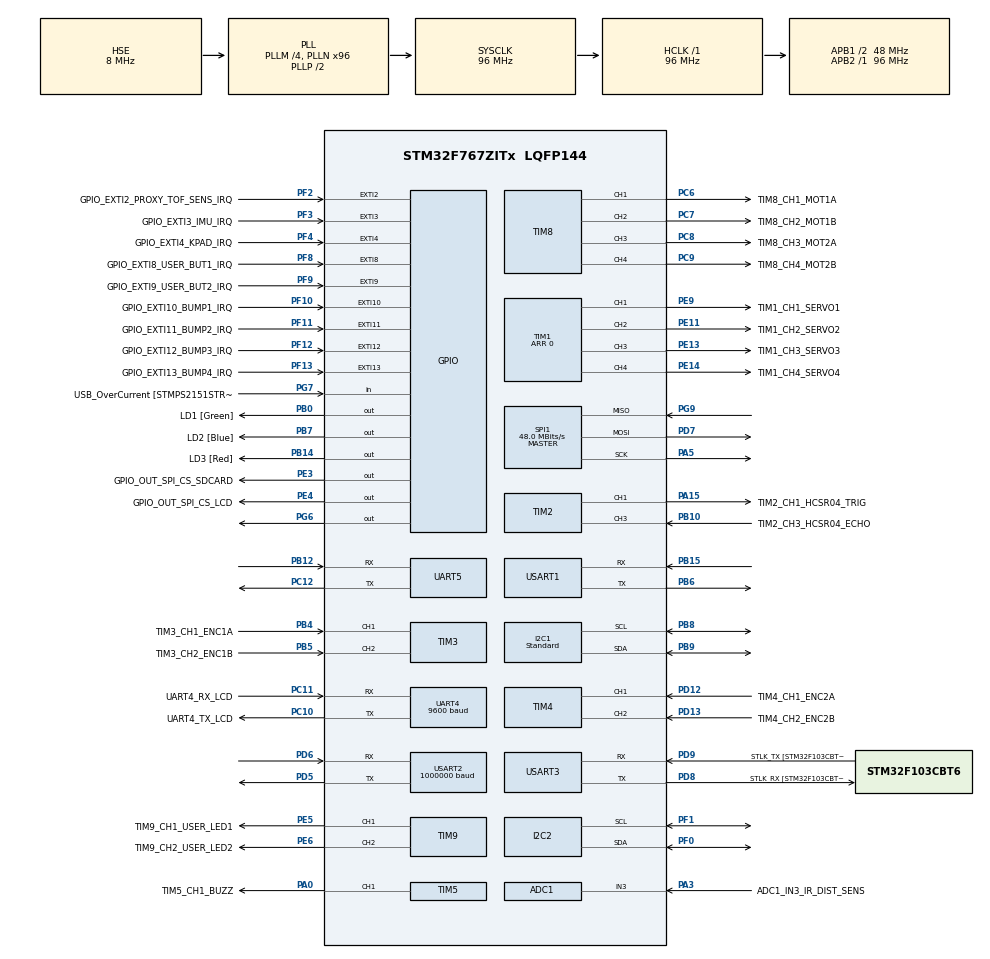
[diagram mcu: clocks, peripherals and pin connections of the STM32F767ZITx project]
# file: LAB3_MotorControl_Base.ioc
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ADC1.Channel-1\#ChannelRegularConversion=ADC_CHANNEL_3
ADC1.NbrOfConversionFlag=1
ADC1.Rank-1\#ChannelRegularConversion=1
ADC1.SamplingTime-1\#ChannelRegularConversion=ADC_SAMPLETIME_3CYCLES
ADC1.master=1
I2C1.I2C_Speed_Mode=I2C_Standard
I2C1.Timing=0x20303E5D
I2C2.Timing=0x20303E5D
Mcu.Family=STM32F7
Mcu.Name=STM32F767ZITx
Mcu.Package=LQFP144
Mcu.UserConstants=TIM3_ARR_VALUE,3839;TIM4_ARR_VALUE,3839;TIM8_PSC_VALUE,959;TIM8_ARR_VALUE,399;TIM6_PSC_VALUE,959;TIM6_ARR_VALUE,999;TIM1_PSC_VALUE,959;TIM1_ARR_VALUE,1999
NVIC.PriorityGroup=NVIC_PRIORITYGROUP_4
NVIC.TIM6_DAC_IRQn=true\:1\:0\:true\:false\:true\:true\:true\:true
PA0/WKUP.GPIO_Label=TIM5_CH1_BUZZ
PA0/WKUP.Signal=S_TIM5_CH1
PA1.GPIO_Label=RMII_REF_CLK [LAN8742A-CZ-TR_REFCLK0]
PA1.Signal=ETH_REF_CLK
PA10.GPIO_Label=USB_ID
PA10.Signal=USB_OTG_FS_ID
PA11.GPIO_Label=USB_DM
PA11.Signal=USB_OTG_FS_DM
PA12.GPIO_Label=USB_DP
PA12.Signal=USB_OTG_FS_DP
PA13.GPIO_Label=TMS
PA13.Mode=Serial_Wire
PA13.Signal=SYS_JTMS-SWDIO
PA14.GPIO_Label=TCK
PA14.Mode=Serial_Wire
PA14.Signal=SYS_JTCK-SWCLK
PA15.GPIO_Label=TIM2_CH1_HCSR04_TRIG
PA15.Signal=S_TIM2_CH1_ETR
PA2.GPIO_Label=RMII_MDIO [LAN8742A-CZ-TR_MDIO]
PA2.Signal=ETH_MDIO
PA3.GPIO_Label=ADC1_IN3_IR_DIST_SENS
PA3.Signal=ADCx_IN3
PA5.Mode=Full_Duplex_Master
PA5.Signal=SPI1_SCK
PA7.GPIO_Label=RMII_CRS_DV [LAN8742A-CZ-TR_CRS_DV]
PA7.Signal=ETH_CRS_DV
PA8.GPIO_Label=USB_SOF [TP1]
PA8.Signal=USB_OTG_FS_SOF
PA9.GPIO_Label=USB_VBUS
PA9.Signal=USB_OTG_FS_VBUS
PB0.GPIO_Label=LD1 [Green]
PB0.Signal=GPIO_Output
PB10.GPIO_Label=TIM2_CH3_HCSR04_ECHO
PB10.Signal=S_TIM2_CH3
PB12.Mode=Asynchronous
PB12.Signal=UART5_RX
PB13.GPIO_Label=RMII_TXD1 [LAN8742A-CZ-TR_TXD1]
PB13.Signal=ETH_TXD1
PB14.GPIO_Label=LD3 [Red]
PB14.Signal=GPIO_Output
PB15.Mode=Asynchronous
PB15.Signal=USART1_RX
PB3.GPIO_Label=SWO
PB3.Signal=SYS_JTDO-SWO
PB4.GPIO_Label=TIM3_CH1_ENC1A
PB4.Signal=S_TIM3_CH1
PB5.GPIO_Label=TIM3_CH2_ENC1B
PB5.Signal=S_TIM3_CH2
PB6.Mode=Asynchronous
PB6.Signal=USART1_TX
PB7.GPIO_Label=LD2 [Blue]
PB7.Signal=GPIO_Output
PB8.GPIO_Pu=GPIO_PULLUP
PB8.Mode=I2C
PB8.Signal=I2C1_SCL
PB9.GPIO_Pu=GPIO_PULLUP
PB9.Mode=I2C
PB9.Signal=I2C1_SDA
PC1.GPIO_Label=RMII_MDC [LAN8742A-CZ-TR_MDC]
PC1.Signal=ETH_MDC
PC10.GPIO_Label=UART4_TX_LCD
PC10.Mode=Asynchronous
PC10.Signal=UART4_TX
PC11.GPIO_Label=UART4_RX_LCD
PC11.Mode=Asynchronous
PC11.Signal=UART4_RX
PC12.Mode=Asynchronous
PC12.Signal=UART5_TX
PC14/OSC32_IN.Mode=LSE-External-Oscillator
PC14/OSC32_IN.Signal=RCC_OSC32_IN
PC15/OSC32_OUT.Mode=LSE-External-Oscillator
PC15/OSC32_OUT.Signal=RCC_OSC32_OUT
PC4.GPIO_Label=RMII_RXD0 [LAN8742A-CZ-TR_RXD0]
PC4.Signal=ETH_RXD0
PC5.GPIO_Label=RMII_RXD1 [LAN8742A-CZ-TR_RXD1]
PC5.Signal=ETH_RXD1
PC6.GPIO_Label=TIM8_CH1_MOT1A
PC6.Signal=S_TIM8_CH1
PC7.GPIO_Label=TIM8_CH2_MOT1B
PC7.Signal=S_TIM8_CH2
PC8.GPIO_Label=TIM8_CH3_MOT2A
PC8.Signal=S_TIM8_CH3
PC9.GPIO_Label=TIM8_CH4_MOT2B
PC9.Signal=S_TIM8_CH4
PD12.GPIO_Label=TIM4_CH1_ENC2A
PD12.Signal=S_TIM4_CH1
PD13.GPIO_Label=TIM4_CH2_ENC2B
PD13.Signal=S_TIM4_CH2
PD5.Mode=Asynchronous
PD5.Signal=USART2_TX
PD6.Mode=Asynchronous
PD6.Signal=USART2_RX
PD7.Mode=Full_Duplex_Master
PD7.Signal=SPI1_MOSI
PD8.GPIO_Label=STLK_RX [STM32F103CBT6_PA3]
PD8.Mode=Asynchronous
PD8.Signal=USART3_TX
PD9.GPIO_Label=STLK_TX [STM32F103CBT6_PA2]
PD9.Mode=Asynchronous
PD9.Signal=USART3_RX
PE11.GPIO_Label=TIM1_CH2_SERVO2
PE11.Signal=S_TIM1_CH2
PE13.GPIO_Label=TIM1_CH3_SERVO3
PE13.Signal=S_TIM1_CH3
PE14.GPIO_Label=TIM1_CH4_SERVO4
PE14.Signal=S_TIM1_CH4
PE3.GPIO_Label=GPIO_OUT_SPI_CS_SDCARD
PE3.Signal=GPIO_Output
PE4.GPIO_Label=GPIO_OUT_SPI_CS_LCD
PE4.Signal=GPIO_Output
PE5.GPIO_Label=TIM9_CH1_USER_LED1
PE5.Signal=S_TIM9_CH1
PE6.GPIO_Label=TIM9_CH2_USER_LED2
PE6.Signal=S_TIM9_CH2
PE9.GPIO_Label=TIM1_CH1_SERVO1
PE9.Signal=S_TIM1_CH1
PF0.GPIO_Pu=GPIO_PULLUP
PF0.Mode=I2C
PF0.Signal=I2C2_SDA
PF1.GPIO_Pu=GPIO_PULLUP
PF1.Mode=I2C
PF1.Signal=I2C2_SCL
PF10.GPIO_Label=GPIO_EXTI10_BUMP1_IRQ
PF10.Signal=GPXTI10
PF11.GPIO_Label=GPIO_EXTI11_BUMP2_IRQ
PF11.Signal=GPXTI11
PF12.GPIO_Label=GPIO_EXTI12_BUMP3_IRQ
PF12.Signal=GPXTI12
PF13.GPIO_Label=GPIO_EXTI13_BUMP4_IRQ
PF13.Signal=GPXTI13
PF2.GPIO_Label=GPIO_EXTI2_PROXY_TOF_SENS_IRQ
PF2.Signal=GPXTI2
PF3.GPIO_Label=GPIO_EXTI3_IMU_IRQ
PF3.Signal=GPXTI3
PF4.GPIO_Label=GPIO_EXTI4_KPAD_IRQ
PF4.Signal=GPXTI4
PF8.GPIO_Label=GPIO_EXTI8_USER_BUT1_IRQ
PF8.Signal=GPXTI8
PF9.GPIO_Label=GPIO_EXTI9_USER_BUT2_IRQ
PF9.Signal=GPXTI9
PG11.GPIO_Label=RMII_TX_EN [LAN8742A-CZ-TR_TXEN]
PG11.Signal=ETH_TX_EN
PG13.GPIO_Label=RMII_TXD0 [LAN8742A-CZ-TR_TXD0]
PG13.Signal=ETH_TXD0
PG6.Signal=GPIO_Output
PG7.GPIO_Label=USB_OverCurrent [STMPS2151STR_FAULT]
PG7.Signal=GPIO_Input
PG9.Mode=Full_Duplex_Master
PG9.Signal=SPI1_MISO
PH0/OSC_IN.GPIO_Label=MCO [STM32F103CBT6_PA8]
PH0/OSC_IN.Mode=HSE-External-Clock-Source
PH0/OSC_IN.Signal=RCC_OSC_IN
PH1/OSC_OUT.Mode=HSE-External-Clock-Source
PH1/OSC_OUT.Signal=RCC_OSC_OUT
ProjectManager.HeapSize=0x200
ProjectManager.StackSize=0x400
ProjectManager.TargetToolchain=STM32CubeIDE
RCC.48MHZClocksFreq_Value=24000000
RCC.AHBFreq_Value=96000000
RCC.APB1CLKDivider=RCC_HCLK_DIV2
RCC.APB1Freq_Value=48000000
RCC.APB1TimFreq_Value=96000000
RCC.APB2Freq_Value=96000000
RCC.APB2TimFreq_Value=96000000
RCC.CortexFreq_Value=96000000
RCC.HCLKFreq_Value=96000000
RCC.HSE_VALUE=8000000
RCC.HSI_VALUE=16000000
RCC.PLLM=4
RCC.PLLMUL=RCC_PLL_MUL9
RCC.PLLN=96
RCC.PLLQ=4
RCC.PLLSourceVirtual=RCC_PLLSOURCE_HSE
RCC.PRESCALERUSB=RCC_USBCLKSOURCE_PLL_DIV1_5
RCC.SYSCLKFreq_VALUE=96000000
RCC.SYSCLKSource=RCC_SYSCLKSOURCE_PLLCLK
RCC.SYSCLKSourceVirtual=RCC_SYSCLKSOURCE_PLLCLK
RCC.USBFreq_Value=48000000
RCC.VCOOutputFreq_Value=192000000
SH.ADCx_IN3.0=ADC1_IN3,IN3
SH.S_TIM1_CH1.0=TIM1_CH1,Forced Output1 CH1
SH.S_TIM1_CH2.0=TIM1_CH2,Forced Output2 CH2
SH.S_TIM1_CH3.0=TIM1_CH3,Forced Output3 CH3
SH.S_TIM1_CH4.0=TIM1_CH4,Forced Output4 CH4
SH.S_TIM2_CH1_ETR.0=TIM2_CH1,PWM Generation1 CH1
SH.S_TIM2_CH3.0=TIM2_CH3,Input_Capture3_from_TI3
SH.S_TIM3_CH1.0=TIM3_CH1,Encoder_Interface
SH.S_TIM3_CH2.0=TIM3_CH2,Encoder_Interface
SH.S_TIM4_CH1.0=TIM4_CH1,Encoder_Interface
SH.S_TIM4_CH2.0=TIM4_CH2,Encoder_Interface
SH.S_TIM5_CH1.0=TIM5_CH1,PWM Generation1 CH1
SH.S_TIM8_CH1.0=TIM8_CH1,PWM Generation1 CH1
SH.S_TIM8_CH2.0=TIM8_CH2,PWM Generation2 CH2
SH.S_TIM8_CH3.0=TIM8_CH3,PWM Generation3 CH3
SH.S_TIM8_CH4.0=TIM8_CH4,PWM Generation4 CH4
SH.S_TIM9_CH1.0=TIM9_CH1,PWM Generation1 CH1
SH.S_TIM9_CH2.0=TIM9_CH2,PWM Generation2 CH2
SPI1.CalculateBaudRate=48.0 MBits/s
SPI1.Direction=SPI_DIRECTION_2LINES
SPI1.Mode=SPI_MODE_MASTER
SPI1.VirtualType=VM_MASTER
TIM1.Channel-Forced\ Output1\ CH1=TIM_CHANNEL_1
TIM1.Channel-Forced\ Output2\ CH2=TIM_CHANNEL_2
TIM1.Channel-Forced\ Output3\ CH3=TIM_CHANNEL_3
TIM1.Channel-Forced\ Output4\ CH4=TIM_CHANNEL_4
TIM1.OCPolarity_1=TIM_OCPOLARITY_LOW
TIM1.OCPolarity_2=TIM_OCPOLARITY_LOW
TIM1.OCPolarity_3=TIM_OCPOLARITY_LOW
TIM1.OCPolarity_4=TIM_OCPOLARITY_LOW
TIM1.Period=0
TIM2.Channel-Input_Capture3_from_TI3=TIM_CHANNEL_3
TIM2.Channel-PWM\ Generation1\ CH1=TIM_CHANNEL_1
TIM3.EncoderMode=TIM_ENCODERMODE_TI12
TIM3.IC1Filter=15
TIM3.IC2Filter=15
TIM3.Period=TIM3_ARR_VALUE
TIM4.EncoderMode=TIM_ENCODERMODE_TI12
TIM4.IC1Filter=15
TIM4.IC2Filter=15
TIM4.Period=TIM4_ARR_VALUE
TIM5.Channel-PWM\ Generation1\ CH1=TIM_CHANNEL_1
TIM6.Period=TIM6_ARR_VALUE
TIM6.Prescaler=TIM6_PSC_VALUE
TIM8.Channel-PWM\ Generation1\ CH1=TIM_CHANNEL_1
TIM8.Channel-PWM\ Generation2\ CH2=TIM_CHANNEL_2
TIM8.Channel-PWM\ Generation3\ CH3=TIM_CHANNEL_3
TIM8.Channel-PWM\ Generation4\ CH4=TIM_CHANNEL_4
TIM8.Period=TIM8_ARR_VALUE
TIM8.Prescaler=TIM8_PSC_VALUE
TIM9.Channel-PWM\ Generation1\ CH1=TIM_CHANNEL_1
TIM9.Channel-PWM\ Generation2\ CH2=TIM_CHANNEL_2
UART4.BaudRate=9600
USART1.VirtualMode-Asynchronous=VM_ASYNC
USART2.BaudRate=1000000
USART2.VirtualMode-Asynchronous=VM_ASYNC
USART3.VirtualMode-Asynchronous=VM_ASYNC
VP_TIM1_VS_ClockSourceINT.Mode=Internal
VP_TIM2_VS_ClockSourceINT.Mode=Internal
VP_TIM5_VS_ClockSourceINT.Mode=Internal
VP_TIM6_VS_ClockSourceINT.Mode=Enable_Timer
VP_TIM8_VS_ClockSourceINT.Mode=Internal
board=NUCLEO-F767ZI

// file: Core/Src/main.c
/* USER CODE BEGIN Header */
/**
  ******************************************************************************
  * @file           : main.c
  * @brief          : Main program body
  ******************************************************************************
  * @attention
  *
  * <h2><center>&copy; Copyright (c) 2021 STMicroelectronics.
  * All rights reserved.</center></h2>
  *
  * This software component is licensed by ST under BSD 3-Clause license,
  * the "License"; You may not use this file except in compliance with the
  * License. You may obtain a copy of the License at:
  *                        opensource.org/licenses/BSD-3-Clause
  *
  ******************************************************************************
  */
/* USER CODE END Header */
#include "main.h"

/* USER CODE BEGIN Includes */
#include <math.h>
#include <stdbool.h>
#include "ertc-datalogger.h"
#include "SX1509_Registers.h"
#include "stdio.h"
/* USER CODE END Includes */

/* USER CODE BEGIN PTD */
#define HAL_TIMEOUT 100

#define I2C_TIMEOUT 200

#define SX1509_I2C_ADDR1 0x3E //	SX1509 Proxy Sensors I2C address
/* USER CODE END PTD */

/* USER CODE BEGIN PD */
//#define	HAL_TIMEOUT		1
#define TS	0.01

#define VBATT	8.0
#define V2DUTY	((float)(TIM8_ARR_VALUE+1)/VBATT)
#define DUTY2V	((float)VBATT/(TIM8_ARR_VALUE+1))

#define RPM2RADS	2*M_PI/60
#define ABS(x) (x > 0 ? x : -x)
/* USER CODE END PD */

ADC_HandleTypeDef hadc1;

I2C_HandleTypeDef hi2c1;
I2C_HandleTypeDef hi2c2;

SPI_HandleTypeDef hspi1;

TIM_HandleTypeDef htim1;
TIM_HandleTypeDef htim2;
TIM_HandleTypeDef htim3;
TIM_HandleTypeDef htim4;
TIM_HandleTypeDef htim5;
TIM_HandleTypeDef htim6;
TIM_HandleTypeDef htim8;
TIM_HandleTypeDef htim9;

UART_HandleTypeDef huart4;
UART_HandleTypeDef huart5;
UART_HandleTypeDef huart1;
UART_HandleTypeDef huart2;
UART_HandleTypeDef huart3;

/* USER CODE BEGIN PV */
const char keypadLayout[4][4] = {
    {'*', '0', '#', 'D'},
    {'7', '8', '9', 'C'},
    {'4', '5', '6', 'B'},
    {'1', '2', '3', 'A'}};
struct ertc_dlog logger;
/* USER CODE END PV */

void SystemClock_Config(void);
static void MX_GPIO_Init(void);
static void MX_USART3_UART_Init(void);
static void MX_ADC1_Init(void);
static void MX_I2C1_Init(void);
static void MX_I2C2_Init(void);
static void MX_SPI1_Init(void);
static void MX_TIM1_Init(void);
static void MX_TIM2_Init(void);
static void MX_TIM3_Init(void);
static void MX_TIM4_Init(void);
static void MX_TIM5_Init(void);
static void MX_TIM8_Init(void);
static void MX_UART4_Init(void);
static void MX_UART5_Init(void);
static void MX_USART1_UART_Init(void);
static void MX_USART2_UART_Init(void);
static void MX_TIM9_Init(void);
static void MX_TIM6_Init(void);
/* USER CODE BEGIN PFP */

float PI_controller (float error);

/* USER CODE END PFP */

/* USER CODE BEGIN 0 */
float controller_return_R ,motor_V_R  ,tracking_error_R;
float controller_return_L ,motor_V_L  ,tracking_error_L;
float  reference_rpm_L;
float  reference_rpm_R;

struct datalog {
	float w1, w2;
	float u1, u2;
	float x1, x2;
} data_log;

float Kp = 0.34;
float KI = 0.2;

float PI_controller (float error){
	float P = Kp * error;
	static float I = 0;
	I = I + error * KI * TS;
	if(I>10){ // anti windup
		I=10;
	}
	return P + I;
}

// converts integer to a binary array
void findBinary(int decimal, int * binary){
	int i =0;
   while(decimal > 0){
	   int rem = decimal % 2;
	   binary[i] = rem;
	   i++;
	   decimal = decimal / 2;
   }
}

// calculates the tracking error for the line sensor
int calc_error_line (int binary[]){
	float distance_from_middle[8]={0};
	float sum_dist = 0;
	int sum_binary = 0;
	for(int n=0;n<8;n++){
		sum_binary += binary[n];
		distance_from_middle[n]=((7.0/2.0)-n)*4;
		sum_dist += binary[n]*distance_from_middle[n];
	}
	float line_error = sum_dist / sum_binary;
	return line_error;
}

float calc_yaw_error(float line_error){
	float phi_err = line_error/85;
	float yaw_err = phi_err * (165/2);
	return yaw_err;
}

uint8_t lineData;
uint8_t data;
HAL_StatusTypeDef status;

void HAL_TIM_PeriodElapsedCallback(TIM_HandleTypeDef *htim)
{
	/* Speed ctrl routine */
	if(htim->Instance == TIM6) // check if interrupt came from timer
	{
		// get the line sensor data
		status = HAL_I2C_Mem_Read(&hi2c1, SX1509_I2C_ADDR1 << 1, REG_DATA_B, 1, &lineData, 1, I2C_TIMEOUT);

    int binary[8] = {0};
    findBinary(lineData, binary); // converts int to binary array
    float line_error = calc_error_line(binary); // computes the line error calculation
    float yaw_err = calc_yaw_error(line_error); // computes the yaw  error calculation

		//reference_rpm_L = 170 - yaw_err*22; // pushing the limit
    //reference_rpm_R = 170 + yaw_err*22;

		reference_rpm_L = 100 - yaw_err*ABS(yaw_err); // workes great
		reference_rpm_R = 100 + yaw_err*ABS(yaw_err);

		uint32_t TIM3_CurrentCount , TIM4_CurrentCount;
		int32_t TIM3_DiffCount , TIM4_DiffCount;
		static uint32_t TIM3_PreviousCount = 0, TIM4_PreviousCount = 0;

    // read the counter value from the encoder
		TIM3_CurrentCount = __HAL_TIM_GET_COUNTER(&htim3);
		TIM4_CurrentCount = __HAL_TIM_GET_COUNTER(&htim4);

    //compute the difference between the current value and the old value
		/*  evaluate increment of TIM3 counter from previous count  */
		if (__HAL_TIM_IS_TIM_COUNTING_DOWN(&htim3)) // right motor
		{
			/* check for counter underflow */
			if (TIM3_CurrentCount <= TIM3_PreviousCount)
				TIM3_DiffCount = TIM3_CurrentCount - TIM3_PreviousCount;
			else
				TIM3_DiffCount = -((TIM3_ARR_VALUE+1) - TIM3_CurrentCount) - TIM3_PreviousCount;
		}
		else
		{
		  /* check for counter overflow */
			if (TIM3_CurrentCount >= TIM3_PreviousCount)
				TIM3_DiffCount = TIM3_CurrentCount - TIM3_PreviousCount;
			else
				TIM3_DiffCount = ((TIM3_ARR_VALUE+1) - TIM3_PreviousCount) + TIM3_CurrentCount;
		}

		TIM3_PreviousCount = TIM3_CurrentCount;

		/*  evaluate increment of TIM4 counter from previous count  */
		if (__HAL_TIM_IS_TIM_COUNTING_DOWN(&htim4)) // left motor
		{
			/* check for counter underflow */
			if (TIM4_CurrentCount <= TIM4_PreviousCount)
				TIM4_DiffCount = TIM4_CurrentCount - TIM4_PreviousCount;
			else
				TIM4_DiffCount = -((TIM4_ARR_VALUE+1) - TIM4_CurrentCount) - TIM4_PreviousCount;
		}
		else
		{
		/* check for counter overflow */
			if (TIM4_CurrentCount >= TIM4_PreviousCount)
				TIM4_DiffCount = TIM4_CurrentCount - TIM4_PreviousCount;
			else
				TIM4_DiffCount = ((TIM4_ARR_VALUE+1) - TIM4_PreviousCount) + TIM4_CurrentCount;
		}

		TIM4_PreviousCount = TIM4_CurrentCount;

    // compute the motor speed in [rpm]
		float current_rpm_R = ((float)TIM3_DiffCount/(2.0*1920.0))*(60.0/TS );
	  tracking_error_R = reference_rpm_R - current_rpm_R;

		float current_rpm_L = ((float)TIM4_DiffCount/(2.0*1920.0))*(60.0/TS );
	  tracking_error_L = reference_rpm_L - current_rpm_L;

    // compute the tracking error via PI controller
    controller_return_R = PI_controller(tracking_error_R);
    controller_return_L = PI_controller(tracking_error_L);

    motor_V_R = controller_return_R;
    motor_V_L = controller_return_L;

    // calculate duty cycle for motor
    int32_t duty_R = V2DUTY*motor_V_R;
    int32_t duty_L = V2DUTY*motor_V_L;

    if (duty_R > 399)
      duty_R = 399;

		/* calculate duty properly */
		if (duty_R >= 0) { // rotate forward
			// alternate between forward and coast
			//__HAL_TIM_SET_COMPARE(&htim8, TIM_CHANNEL_1, (uint32_t)duty_R);
			//__HAL_TIM_SET_COMPARE(&htim8, TIM_CHANNEL_2, 0);

			// alternate between forward and brake, TIM8_ARR_VALUE is a define
			__HAL_TIM_SET_COMPARE(&htim8, TIM_CHANNEL_1, (uint32_t)TIM8_ARR_VALUE);
			__HAL_TIM_SET_COMPARE(&htim8, TIM_CHANNEL_2, (uint32_t)(TIM8_ARR_VALUE - duty_R));
		} else { // rotate backward
			__HAL_TIM_SET_COMPARE(&htim8, TIM_CHANNEL_1, 0);
			__HAL_TIM_SET_COMPARE(&htim8, TIM_CHANNEL_2, (uint32_t)-duty_R);
		}

    if (duty_L > 399)
          duty_L = 399;

		/* calculate duty properly */
		if (duty_L >= 0) { // rotate forward
			// alternate between forward and coast
			//__HAL_TIM_SET_COMPARE(&htim8, TIM_CHANNEL_3, (uint32_t)duty_L);
	    //__HAL_TIM_SET_COMPARE(&htim8, TIM_CHANNEL_4, 0);

			// alternate between forward and brake, TIM8_ARR_VALUE is a define
			__HAL_TIM_SET_COMPARE(&htim8, TIM_CHANNEL_3, (uint32_t)TIM8_ARR_VALUE);
			__HAL_TIM_SET_COMPARE(&htim8, TIM_CHANNEL_4, (uint32_t)(TIM8_ARR_VALUE - duty_L));
		} else { // rotate backward
			__HAL_TIM_SET_COMPARE(&htim8, TIM_CHANNEL_3, 0);
			__HAL_TIM_SET_COMPARE(&htim8, TIM_CHANNEL_4, (uint32_t)-duty_L);
		}

    /*	Prepare data packet */
		data_log.w1 = reference_rpm_L;
		data_log.w2 = current_rpm_L;

		data_log.u1 = line_error;
		data_log.u2 = yaw_err;

		data_log.x1 = reference_rpm_R;
		data_log.x2 = current_rpm_R;

    // send data to datalogger
		ertc_dlog_send(&logger, &data_log, sizeof(data_log));
	}
}

//#define N 8  //number of the sensors
/* USER CODE END 0 */

int main(void)
{
  /* USER CODE BEGIN 1 */

	//float w[N];
  /* USER CODE END 1 */

  /* MCU Configuration--------------------------------------------------------*/

  /* Reset of all peripherals, Initializes the Flash interface and the Systick. */
  HAL_Init();

  /* Configure the system clock */
  SystemClock_Config();

  /* Initialize all configured peripherals */
  MX_GPIO_Init();
  MX_USART3_UART_Init();
  MX_ADC1_Init();
  MX_I2C1_Init();
  MX_I2C2_Init();
  MX_SPI1_Init();
  MX_TIM1_Init();
  MX_TIM2_Init();
  MX_TIM3_Init();
  MX_TIM4_Init();
  MX_TIM5_Init();
  MX_TIM8_Init();
  MX_UART4_Init();
  MX_UART5_Init();
  MX_USART1_UART_Init();
  MX_USART2_UART_Init();
  MX_TIM9_Init();
  MX_TIM6_Init();
  /* USER CODE BEGIN 2 */

//  logger.uart_handle = huart3; // for serial
  logger.uart_handle = huart2; // for wifi

  /* Reset LCD */
  HAL_GPIO_WritePin(GPIO_OUT_SPI_CS_LCD_GPIO_Port, GPIO_OUT_SPI_CS_LCD_Pin, GPIO_PIN_SET);

  HAL_Delay(1000);

  data = 0x12;
    status = HAL_I2C_Mem_Write(&hi2c1, SX1509_I2C_ADDR1 << 1, REG_RESET, 1, &data, 1, I2C_TIMEOUT);
    if (status != HAL_OK)
      printf("I2C communication error (%X).\n", status);

    data = 0x34;
    status = HAL_I2C_Mem_Write(&hi2c1, SX1509_I2C_ADDR1 << 1, REG_RESET, 1, &data, 1, I2C_TIMEOUT);
    if (status != HAL_OK)
      printf("I2C communication error (%X).\n", status);

    HAL_Delay(100);

    /* Set RegDirA to 0xFF (all IO of Bank A configured as inputs) */
    data = 0xFF; // 0 = out; 1 = in
    status = HAL_I2C_Mem_Write(&hi2c1, SX1509_I2C_ADDR1 << 1, REG_DIR_A, 1, &data, 1, I2C_TIMEOUT);
    if (status != HAL_OK)
      printf("I2C communication error (%X).\n", status);

    /* Set RegDirB to 0xFF (all IO of Bank B configured as inputs) */
    data = 0xFF; // 0 = out; 1 = in
    status = HAL_I2C_Mem_Write(&hi2c1, SX1509_I2C_ADDR1 << 1, REG_DIR_B, 1, &data, 1, I2C_TIMEOUT);
    if (status != HAL_OK)
      printf("I2C communication error (%X).\n", status);

    /* Set RegInterruptMaskA to 0x00 (all IO of Bank A will trigger an interrupt) */
    data = 0x00;
    status = HAL_I2C_Mem_Write(&hi2c1, SX1509_I2C_ADDR1 << 1, REG_INTERRUPT_MASK_A, 1, &data, 1, I2C_TIMEOUT);
    if (status != HAL_OK)
      printf("I2C communication error (%X).\n", status);

    /* Set RegSenseHighA to 0xAA (IO[7:4] of Bank A will trigger an interrupt on falling edge) */
    data = 0xAA;
    status = HAL_I2C_Mem_Write(&hi2c1, SX1509_I2C_ADDR1 << 1, REG_SENSE_HIGH_A, 1, &data, 1, I2C_TIMEOUT);
    if (status != HAL_OK)
      printf("I2C communication error (%X).\n", status);

    /* Set RegSenseLowA to 0xAA (IO[3:0] of Bank A will trigger an interrupt on falling edge) */
    data = 0xAA;
    status = HAL_I2C_Mem_Write(&hi2c1, SX1509_I2C_ADDR1 << 1, REG_SENSE_LOW_A, 1, &data, 1, I2C_TIMEOUT);
    if (status != HAL_OK)
      printf("I2C communication error (%X).\n", status);

  /* Start encoders timers */
  HAL_TIM_Encoder_Start(&htim3, TIM_CHANNEL_ALL);
  HAL_TIM_Encoder_Start(&htim4, TIM_CHANNEL_ALL);

  /* Start servomotors PWM (avoid floating inputs to servomotors) */
  HAL_TIM_PWM_Start(&htim1, TIM_CHANNEL_1);
  HAL_TIM_PWM_Start(&htim1, TIM_CHANNEL_2);
  HAL_TIM_PWM_Start(&htim1, TIM_CHANNEL_3);
  HAL_TIM_PWM_Start(&htim1, TIM_CHANNEL_4);

  /* Start motor PWM */
  __HAL_TIM_SET_COMPARE(&htim8, TIM_CHANNEL_1, 0);
  __HAL_TIM_SET_COMPARE(&htim8, TIM_CHANNEL_2, 0);
  __HAL_TIM_SET_COMPARE(&htim8, TIM_CHANNEL_3, 0);
  __HAL_TIM_SET_COMPARE(&htim8, TIM_CHANNEL_4, 0);

  HAL_TIM_PWM_Start(&htim8, TIM_CHANNEL_1);
  HAL_TIM_PWM_Start(&htim8, TIM_CHANNEL_2);
  HAL_TIM_PWM_Start(&htim8, TIM_CHANNEL_3);
  HAL_TIM_PWM_Start(&htim8, TIM_CHANNEL_4);

  /* Start speed ctrl ISR */
  HAL_TIM_Base_Start_IT(&htim6);

  /* USER CODE END 2 */

  /* Infinite loop */
  while (1)
  {

    /* USER CODE BEGIN 3 */
	  ertc_dlog_update(&logger);
  }
  /* USER CODE END 3 */
}

void SystemClock_Config(void)
{
  RCC_OscInitTypeDef RCC_OscInitStruct = {0};
  RCC_ClkInitTypeDef RCC_ClkInitStruct = {0};

  /** Configure LSE Drive Capability
  */
  HAL_PWR_EnableBkUpAccess();

  /** Configure the main internal regulator output voltage
  */
  __HAL_RCC_PWR_CLK_ENABLE();
  __HAL_PWR_VOLTAGESCALING_CONFIG(PWR_REGULATOR_VOLTAGE_SCALE3);

  /** Initializes the RCC Oscillators according to the specified parameters
  * in the RCC_OscInitTypeDef structure.
  */
  RCC_OscInitStruct.OscillatorType = RCC_OSCILLATORTYPE_HSE;
  RCC_OscInitStruct.HSEState = RCC_HSE_BYPASS;
  RCC_OscInitStruct.PLL.PLLState = RCC_PLL_ON;
  RCC_OscInitStruct.PLL.PLLSource = RCC_PLLSOURCE_HSE;
  RCC_OscInitStruct.PLL.PLLM = 4;
  RCC_OscInitStruct.PLL.PLLN = 96;
  RCC_OscInitStruct.PLL.PLLP = RCC_PLLP_DIV2;
  RCC_OscInitStruct.PLL.PLLQ = 4;
  RCC_OscInitStruct.PLL.PLLR = 2;
  if (HAL_RCC_OscConfig(&RCC_OscInitStruct) != HAL_OK)
  {
    Error_Handler();
  }

  /** Activate the Over-Drive mode
  */
  if (HAL_PWREx_EnableOverDrive() != HAL_OK)
  {
    Error_Handler();
  }

  /** Initializes the CPU, AHB and APB buses clocks
  */
  RCC_ClkInitStruct.ClockType = RCC_CLOCKTYPE_HCLK|RCC_CLOCKTYPE_SYSCLK
                              |RCC_CLOCKTYPE_PCLK1|RCC_CLOCKTYPE_PCLK2;
  RCC_ClkInitStruct.SYSCLKSource = RCC_SYSCLKSOURCE_PLLCLK;
  RCC_ClkInitStruct.AHBCLKDivider = RCC_SYSCLK_DIV1;
  RCC_ClkInitStruct.APB1CLKDivider = RCC_HCLK_DIV2;
  RCC_ClkInitStruct.APB2CLKDivider = RCC_HCLK_DIV1;

  if (HAL_RCC_ClockConfig(&RCC_ClkInitStruct, FLASH_LATENCY_3) != HAL_OK)
  {
    Error_Handler();
  }
}

static void MX_ADC1_Init(void)
{

  ADC_ChannelConfTypeDef sConfig = {0};

  /** Configure the global features of the ADC (Clock, Resolution, Data Alignment and number of conversion)
  */
  hadc1.Instance = ADC1;
  hadc1.Init.ClockPrescaler = ADC_CLOCK_SYNC_PCLK_DIV4;
  hadc1.Init.Resolution = ADC_RESOLUTION_12B;
  hadc1.Init.ScanConvMode = ADC_SCAN_DISABLE;
  hadc1.Init.ContinuousConvMode = DISABLE;
  hadc1.Init.DiscontinuousConvMode = DISABLE;
  hadc1.Init.ExternalTrigConvEdge = ADC_EXTERNALTRIGCONVEDGE_NONE;
  hadc1.Init.ExternalTrigConv = ADC_SOFTWARE_START;
  hadc1.Init.DataAlign = ADC_DATAALIGN_RIGHT;
  hadc1.Init.NbrOfConversion = 1;
  hadc1.Init.DMAContinuousRequests = DISABLE;
  hadc1.Init.EOCSelection = ADC_EOC_SINGLE_CONV;
  if (HAL_ADC_Init(&hadc1) != HAL_OK)
  {
    Error_Handler();
  }

  /** Configure for the selected ADC regular channel its corresponding rank in the sequencer and its sample time.
  */
  sConfig.Channel = ADC_CHANNEL_3;
  sConfig.Rank = ADC_REGULAR_RANK_1;
  sConfig.SamplingTime = ADC_SAMPLETIME_3CYCLES;
  if (HAL_ADC_ConfigChannel(&hadc1, &sConfig) != HAL_OK)
  {
    Error_Handler();
  }

}

static void MX_I2C1_Init(void)
{

  hi2c1.Instance = I2C1;
  hi2c1.Init.Timing = 0x20303E5D;
  hi2c1.Init.OwnAddress1 = 0;
  hi2c1.Init.AddressingMode = I2C_ADDRESSINGMODE_7BIT;
  hi2c1.Init.DualAddressMode = I2C_DUALADDRESS_DISABLE;
  hi2c1.Init.OwnAddress2 = 0;
  hi2c1.Init.OwnAddress2Masks = I2C_OA2_NOMASK;
  hi2c1.Init.GeneralCallMode = I2C_GENERALCALL_DISABLE;
  hi2c1.Init.NoStretchMode = I2C_NOSTRETCH_DISABLE;
  if (HAL_I2C_Init(&hi2c1) != HAL_OK)
  {
    Error_Handler();
  }

  /** Configure Analogue filter
  */
  if (HAL_I2CEx_ConfigAnalogFilter(&hi2c1, I2C_ANALOGFILTER_ENABLE) != HAL_OK)
  {
    Error_Handler();
  }

  /** Configure Digital filter
  */
  if (HAL_I2CEx_ConfigDigitalFilter(&hi2c1, 0) != HAL_OK)
  {
    Error_Handler();
  }

}

static void MX_I2C2_Init(void)
{

  hi2c2.Instance = I2C2;
  hi2c2.Init.Timing = 0x20303E5D;
  hi2c2.Init.OwnAddress1 = 0;
  hi2c2.Init.AddressingMode = I2C_ADDRESSINGMODE_7BIT;
  hi2c2.Init.DualAddressMode = I2C_DUALADDRESS_DISABLE;
  hi2c2.Init.OwnAddress2 = 0;
  hi2c2.Init.OwnAddress2Masks = I2C_OA2_NOMASK;
  hi2c2.Init.GeneralCallMode = I2C_GENERALCALL_DISABLE;
  hi2c2.Init.NoStretchMode = I2C_NOSTRETCH_DISABLE;
  if (HAL_I2C_Init(&hi2c2) != HAL_OK)
  {
    Error_Handler();
  }

  /** Configure Analogue filter
  */
  if (HAL_I2CEx_ConfigAnalogFilter(&hi2c2, I2C_ANALOGFILTER_ENABLE) != HAL_OK)
  {
    Error_Handler();
  }

  /** Configure Digital filter
  */
  if (HAL_I2CEx_ConfigDigitalFilter(&hi2c2, 0) != HAL_OK)
  {
    Error_Handler();
  }

}

static void MX_SPI1_Init(void)
{

  /* SPI1 parameter configuration*/
  hspi1.Instance = SPI1;
  hspi1.Init.Mode = SPI_MODE_MASTER;
  hspi1.Init.Direction = SPI_DIRECTION_2LINES;
  hspi1.Init.DataSize = SPI_DATASIZE_4BIT;
  hspi1.Init.CLKPolarity = SPI_POLARITY_LOW;
  hspi1.Init.CLKPhase = SPI_PHASE_1EDGE;
  hspi1.Init.NSS = SPI_NSS_SOFT;
  hspi1.Init.BaudRatePrescaler = SPI_BAUDRATEPRESCALER_2;
  hspi1.Init.FirstBit = SPI_FIRSTBIT_MSB;
  hspi1.Init.TIMode = SPI_TIMODE_DISABLE;
  hspi1.Init.CRCCalculation = SPI_CRCCALCULATION_DISABLE;
  hspi1.Init.CRCPolynomial = 7;
  hspi1.Init.CRCLength = SPI_CRC_LENGTH_DATASIZE;
  hspi1.Init.NSSPMode = SPI_NSS_PULSE_ENABLE;
  if (HAL_SPI_Init(&hspi1) != HAL_OK)
  {
    Error_Handler();
  }

}

static void MX_TIM1_Init(void)
{

  TIM_ClockConfigTypeDef sClockSourceConfig = {0};
  TIM_MasterConfigTypeDef sMasterConfig = {0};
  TIM_OC_InitTypeDef sConfigOC = {0};
  TIM_BreakDeadTimeConfigTypeDef sBreakDeadTimeConfig = {0};

  htim1.Instance = TIM1;
  htim1.Init.Prescaler = 0;
  htim1.Init.CounterMode = TIM_COUNTERMODE_UP;
  htim1.Init.Period = 0;
  htim1.Init.ClockDivision = TIM_CLOCKDIVISION_DIV1;
  htim1.Init.RepetitionCounter = 0;
  htim1.Init.AutoReloadPreload = TIM_AUTORELOAD_PRELOAD_DISABLE;
  if (HAL_TIM_Base_Init(&htim1) != HAL_OK)
  {
    Error_Handler();
  }
  sClockSourceConfig.ClockSource = TIM_CLOCKSOURCE_INTERNAL;
  if (HAL_TIM_ConfigClockSource(&htim1, &sClockSourceConfig) != HAL_OK)
  {
    Error_Handler();
  }
  if (HAL_TIM_OC_Init(&htim1) != HAL_OK)
  {
    Error_Handler();
  }
  sMasterConfig.MasterOutputTrigger = TIM_TRGO_RESET;
  sMasterConfig.MasterOutputTrigger2 = TIM_TRGO2_RESET;
  sMasterConfig.MasterSlaveMode = TIM_MASTERSLAVEMODE_DISABLE;
  if (HAL_TIMEx_MasterConfigSynchronization(&htim1, &sMasterConfig) != HAL_OK)
  {
    Error_Handler();
  }
  sConfigOC.OCMode = TIM_OCMODE_FORCED_ACTIVE;
  sConfigOC.Pulse = 0;
  sConfigOC.OCPolarity = TIM_OCPOLARITY_LOW;
  sConfigOC.OCNPolarity = TIM_OCNPOLARITY_HIGH;
  sConfigOC.OCFastMode = TIM_OCFAST_DISABLE;
  sConfigOC.OCIdleState = TIM_OCIDLESTATE_RESET;
  sConfigOC.OCNIdleState = TIM_OCNIDLESTATE_RESET;
  if (HAL_TIM_OC_ConfigChannel(&htim1, &sConfigOC, TIM_CHANNEL_1) != HAL_OK)
  {
    Error_Handler();
  }
  if (HAL_TIM_OC_ConfigChannel(&htim1, &sConfigOC, TIM_CHANNEL_2) != HAL_OK)
  {
    Error_Handler();
  }
  if (HAL_TIM_OC_ConfigChannel(&htim1, &sConfigOC, TIM_CHANNEL_3) != HAL_OK)
  {
    Error_Handler();
  }
  if (HAL_TIM_OC_ConfigChannel(&htim1, &sConfigOC, TIM_CHANNEL_4) != HAL_OK)
  {
    Error_Handler();
  }
  sBreakDeadTimeConfig.OffStateRunMode = TIM_OSSR_DISABLE;
  sBreakDeadTimeConfig.OffStateIDLEMode = TIM_OSSI_DISABLE;
  sBreakDeadTimeConfig.LockLevel = TIM_LOCKLEVEL_OFF;
  sBreakDeadTimeConfig.DeadTime = 0;
  sBreakDeadTimeConfig.BreakState = TIM_BREAK_DISABLE;
  sBreakDeadTimeConfig.BreakPolarity = TIM_BREAKPOLARITY_HIGH;
  sBreakDeadTimeConfig.BreakFilter = 0;
  sBreakDeadTimeConfig.Break2State = TIM_BREAK2_DISABLE;
  sBreakDeadTimeConfig.Break2Polarity = TIM_BREAK2POLARITY_HIGH;
  sBreakDeadTimeConfig.Break2Filter = 0;
  sBreakDeadTimeConfig.AutomaticOutput = TIM_AUTOMATICOUTPUT_DISABLE;
  if (HAL_TIMEx_ConfigBreakDeadTime(&htim1, &sBreakDeadTimeConfig) != HAL_OK)
  {
    Error_Handler();
  }
  HAL_TIM_MspPostInit(&htim1);

}

static void MX_TIM2_Init(void)
{

  TIM_ClockConfigTypeDef sClockSourceConfig = {0};
  TIM_MasterConfigTypeDef sMasterConfig = {0};
  TIM_OC_InitTypeDef sConfigOC = {0};
  TIM_IC_InitTypeDef sConfigIC = {0};

  htim2.Instance = TIM2;
  htim2.Init.Prescaler = 0;
  htim2.Init.CounterMode = TIM_COUNTERMODE_UP;
  htim2.Init.Period = 4294967295;
  htim2.Init.ClockDivision = TIM_CLOCKDIVISION_DIV1;
  htim2.Init.AutoReloadPreload = TIM_AUTORELOAD_PRELOAD_DISABLE;
  if (HAL_TIM_Base_Init(&htim2) != HAL_OK)
  {
    Error_Handler();
  }
  sClockSourceConfig.ClockSource = TIM_CLOCKSOURCE_INTERNAL;
  if (HAL_TIM_ConfigClockSource(&htim2, &sClockSourceConfig) != HAL_OK)
  {
    Error_Handler();
  }
  if (HAL_TIM_PWM_Init(&htim2) != HAL_OK)
  {
    Error_Handler();
  }
  if (HAL_TIM_IC_Init(&htim2) != HAL_OK)
  {
    Error_Handler();
  }
  sMasterConfig.MasterOutputTrigger = TIM_TRGO_RESET;
  sMasterConfig.MasterSlaveMode = TIM_MASTERSLAVEMODE_DISABLE;
  if (HAL_TIMEx_MasterConfigSynchronization(&htim2, &sMasterConfig) != HAL_OK)
  {
    Error_Handler();
  }
  sConfigOC.OCMode = TIM_OCMODE_PWM1;
  sConfigOC.Pulse = 0;
  sConfigOC.OCPolarity = TIM_OCPOLARITY_HIGH;
  sConfigOC.OCFastMode = TIM_OCFAST_DISABLE;
  if (HAL_TIM_PWM_ConfigChannel(&htim2, &sConfigOC, TIM_CHANNEL_1) != HAL_OK)
  {
    Error_Handler();
  }
  sConfigIC.ICPolarity = TIM_INPUTCHANNELPOLARITY_RISING;
  sConfigIC.ICSelection = TIM_ICSELECTION_DIRECTTI;
  sConfigIC.ICPrescaler = TIM_ICPSC_DIV1;
  sConfigIC.ICFilter = 0;
  if (HAL_TIM_IC_ConfigChannel(&htim2, &sConfigIC, TIM_CHANNEL_3) != HAL_OK)
  {
    Error_Handler();
  }
  HAL_TIM_MspPostInit(&htim2);

}

static void MX_TIM3_Init(void)
{

  TIM_Encoder_InitTypeDef sConfig = {0};
  TIM_MasterConfigTypeDef sMasterConfig = {0};

  htim3.Instance = TIM3;
  htim3.Init.Prescaler = 0;
  htim3.Init.CounterMode = TIM_COUNTERMODE_UP;
  htim3.Init.Period = TIM3_ARR_VALUE;
  htim3.Init.ClockDivision = TIM_CLOCKDIVISION_DIV1;
  htim3.Init.AutoReloadPreload = TIM_AUTORELOAD_PRELOAD_DISABLE;
  sConfig.EncoderMode = TIM_ENCODERMODE_TI12;
  sConfig.IC1Polarity = TIM_ICPOLARITY_RISING;
  sConfig.IC1Selection = TIM_ICSELECTION_DIRECTTI;
  sConfig.IC1Prescaler = TIM_ICPSC_DIV1;
  sConfig.IC1Filter = 15;
  sConfig.IC2Polarity = TIM_ICPOLARITY_RISING;
  sConfig.IC2Selection = TIM_ICSELECTION_DIRECTTI;
  sConfig.IC2Prescaler = TIM_ICPSC_DIV1;
  sConfig.IC2Filter = 15;
  if (HAL_TIM_Encoder_Init(&htim3, &sConfig) != HAL_OK)
  {
    Error_Handler();
  }
  sMasterConfig.MasterOutputTrigger = TIM_TRGO_RESET;
  sMasterConfig.MasterSlaveMode = TIM_MASTERSLAVEMODE_DISABLE;
  if (HAL_TIMEx_MasterConfigSynchronization(&htim3, &sMasterConfig) != HAL_OK)
  {
    Error_Handler();
  }

}

static void MX_TIM4_Init(void)
{

  TIM_Encoder_InitTypeDef sConfig = {0};
  TIM_MasterConfigTypeDef sMasterConfig = {0};

  htim4.Instance = TIM4;
  htim4.Init.Prescaler = 0;
  htim4.Init.CounterMode = TIM_COUNTERMODE_UP;
  htim4.Init.Period = TIM4_ARR_VALUE;
  htim4.Init.ClockDivision = TIM_CLOCKDIVISION_DIV1;
  htim4.Init.AutoReloadPreload = TIM_AUTORELOAD_PRELOAD_DISABLE;
  sConfig.EncoderMode = TIM_ENCODERMODE_TI12;
  sConfig.IC1Polarity = TIM_ICPOLARITY_RISING;
  sConfig.IC1Selection = TIM_ICSELECTION_DIRECTTI;
  sConfig.IC1Prescaler = TIM_ICPSC_DIV1;
  sConfig.IC1Filter = 15;
  sConfig.IC2Polarity = TIM_ICPOLARITY_RISING;
  sConfig.IC2Selection = TIM_ICSELECTION_DIRECTTI;
  sConfig.IC2Prescaler = TIM_ICPSC_DIV1;
  sConfig.IC2Filter = 15;
  if (HAL_TIM_Encoder_Init(&htim4, &sConfig) != HAL_OK)
  {
    Error_Handler();
  }
  sMasterConfig.MasterOutputTrigger = TIM_TRGO_RESET;
  sMasterConfig.MasterSlaveMode = TIM_MASTERSLAVEMODE_DISABLE;
  if (HAL_TIMEx_MasterConfigSynchronization(&htim4, &sMasterConfig) != HAL_OK)
  {
    Error_Handler();
  }

}

static void MX_TIM5_Init(void)
{

  TIM_ClockConfigTypeDef sClockSourceConfig = {0};
  TIM_MasterConfigTypeDef sMasterConfig = {0};
  TIM_OC_InitTypeDef sConfigOC = {0};

  htim5.Instance = TIM5;
  htim5.Init.Prescaler = 0;
  htim5.Init.CounterMode = TIM_COUNTERMODE_UP;
  htim5.Init.Period = 4294967295;
  htim5.Init.ClockDivision = TIM_CLOCKDIVISION_DIV1;
  htim5.Init.AutoReloadPreload = TIM_AUTORELOAD_PRELOAD_DISABLE;
  if (HAL_TIM_Base_Init(&htim5) != HAL_OK)
  {
    Error_Handler();
  }
  sClockSourceConfig.ClockSource = TIM_CLOCKSOURCE_INTERNAL;
  if (HAL_TIM_ConfigClockSource(&htim5, &sClockSourceConfig) != HAL_OK)
  {
    Error_Handler();
  }
  if (HAL_TIM_PWM_Init(&htim5) != HAL_OK)
  {
    Error_Handler();
  }
  sMasterConfig.MasterOutputTrigger = TIM_TRGO_RESET;
  sMasterConfig.MasterSlaveMode = TIM_MASTERSLAVEMODE_DISABLE;
  if (HAL_TIMEx_MasterConfigSynchronization(&htim5, &sMasterConfig) != HAL_OK)
  {
    Error_Handler();
  }
  sConfigOC.OCMode = TIM_OCMODE_PWM1;
  sConfigOC.Pulse = 0;
  sConfigOC.OCPolarity = TIM_OCPOLARITY_HIGH;
  sConfigOC.OCFastMode = TIM_OCFAST_DISABLE;
  if (HAL_TIM_PWM_ConfigChannel(&htim5, &sConfigOC, TIM_CHANNEL_1) != HAL_OK)
  {
    Error_Handler();
  }
  HAL_TIM_MspPostInit(&htim5);

}

static void MX_TIM6_Init(void)
{

  TIM_MasterConfigTypeDef sMasterConfig = {0};

  htim6.Instance = TIM6;
  htim6.Init.Prescaler = TIM6_PSC_VALUE;
  htim6.Init.CounterMode = TIM_COUNTERMODE_UP;
  htim6.Init.Period = TIM6_ARR_VALUE;
  htim6.Init.AutoReloadPreload = TIM_AUTORELOAD_PRELOAD_DISABLE;
  if (HAL_TIM_Base_Init(&htim6) != HAL_OK)
  {
    Error_Handler();
  }
  sMasterConfig.MasterOutputTrigger = TIM_TRGO_RESET;
  sMasterConfig.MasterSlaveMode = TIM_MASTERSLAVEMODE_DISABLE;
  if (HAL_TIMEx_MasterConfigSynchronization(&htim6, &sMasterConfig) != HAL_OK)
  {
    Error_Handler();
  }

}

static void MX_TIM8_Init(void)
{

  TIM_ClockConfigTypeDef sClockSourceConfig = {0};
  TIM_MasterConfigTypeDef sMasterConfig = {0};
  TIM_OC_InitTypeDef sConfigOC = {0};
  TIM_BreakDeadTimeConfigTypeDef sBreakDeadTimeConfig = {0};

  htim8.Instance = TIM8;
  htim8.Init.Prescaler = TIM8_PSC_VALUE;
  htim8.Init.CounterMode = TIM_COUNTERMODE_UP;
  htim8.Init.Period = TIM8_ARR_VALUE;
  htim8.Init.ClockDivision = TIM_CLOCKDIVISION_DIV1;
  htim8.Init.RepetitionCounter = 0;
  htim8.Init.AutoReloadPreload = TIM_AUTORELOAD_PRELOAD_DISABLE;
  if (HAL_TIM_Base_Init(&htim8) != HAL_OK)
  {
    Error_Handler();
  }
  sClockSourceConfig.ClockSource = TIM_CLOCKSOURCE_INTERNAL;
  if (HAL_TIM_ConfigClockSource(&htim8, &sClockSourceConfig) != HAL_OK)
  {
    Error_Handler();
  }
  if (HAL_TIM_PWM_Init(&htim8) != HAL_OK)
  {
    Error_Handler();
  }
  sMasterConfig.MasterOutputTrigger = TIM_TRGO_RESET;
  sMasterConfig.MasterOutputTrigger2 = TIM_TRGO2_RESET;
  sMasterConfig.MasterSlaveMode = TIM_MASTERSLAVEMODE_DISABLE;
  if (HAL_TIMEx_MasterConfigSynchronization(&htim8, &sMasterConfig) != HAL_OK)
  {
    Error_Handler();
  }
  sConfigOC.OCMode = TIM_OCMODE_PWM1;
  sConfigOC.Pulse = 0;
  sConfigOC.OCPolarity = TIM_OCPOLARITY_HIGH;
  sConfigOC.OCNPolarity = TIM_OCNPOLARITY_HIGH;
  sConfigOC.OCFastMode = TIM_OCFAST_DISABLE;
  sConfigOC.OCIdleState = TIM_OCIDLESTATE_RESET;
  sConfigOC.OCNIdleState = TIM_OCNIDLESTATE_RESET;
  if (HAL_TIM_PWM_ConfigChannel(&htim8, &sConfigOC, TIM_CHANNEL_1) != HAL_OK)
  {
    Error_Handler();
  }
  if (HAL_TIM_PWM_ConfigChannel(&htim8, &sConfigOC, TIM_CHANNEL_2) != HAL_OK)
  {
    Error_Handler();
  }
  if (HAL_TIM_PWM_ConfigChannel(&htim8, &sConfigOC, TIM_CHANNEL_3) != HAL_OK)
  {
    Error_Handler();
  }
  if (HAL_TIM_PWM_ConfigChannel(&htim8, &sConfigOC, TIM_CHANNEL_4) != HAL_OK)
  {
    Error_Handler();
  }
  sBreakDeadTimeConfig.OffStateRunMode = TIM_OSSR_DISABLE;
  sBreakDeadTimeConfig.OffStateIDLEMode = TIM_OSSI_DISABLE;
  sBreakDeadTimeConfig.LockLevel = TIM_LOCKLEVEL_OFF;
  sBreakDeadTimeConfig.DeadTime = 0;
  sBreakDeadTimeConfig.BreakState = TIM_BREAK_DISABLE;
  sBreakDeadTimeConfig.BreakPolarity = TIM_BREAKPOLARITY_HIGH;
  sBreakDeadTimeConfig.BreakFilter = 0;
  sBreakDeadTimeConfig.Break2State = TIM_BREAK2_DISABLE;
  sBreakDeadTimeConfig.Break2Polarity = TIM_BREAK2POLARITY_HIGH;
  sBreakDeadTimeConfig.Break2Filter = 0;
  sBreakDeadTimeConfig.AutomaticOutput = TIM_AUTOMATICOUTPUT_DISABLE;
  if (HAL_TIMEx_ConfigBreakDeadTime(&htim8, &sBreakDeadTimeConfig) != HAL_OK)
  {
    Error_Handler();
  }
  HAL_TIM_MspPostInit(&htim8);

}

static void MX_TIM9_Init(void)
{

  TIM_OC_InitTypeDef sConfigOC = {0};

  htim9.Instance = TIM9;
  htim9.Init.Prescaler = 0;
  htim9.Init.CounterMode = TIM_COUNTERMODE_UP;
  htim9.Init.Period = 65535;
  htim9.Init.ClockDivision = TIM_CLOCKDIVISION_DIV1;
  htim9.Init.AutoReloadPreload = TIM_AUTORELOAD_PRELOAD_DISABLE;
  if (HAL_TIM_PWM_Init(&htim9) != HAL_OK)
  {
    Error_Handler();
  }
  sConfigOC.OCMode = TIM_OCMODE_PWM1;
  sConfigOC.Pulse = 0;
  sConfigOC.OCPolarity = TIM_OCPOLARITY_HIGH;
  sConfigOC.OCFastMode = TIM_OCFAST_DISABLE;
  if (HAL_TIM_PWM_ConfigChannel(&htim9, &sConfigOC, TIM_CHANNEL_1) != HAL_OK)
  {
    Error_Handler();
  }
  if (HAL_TIM_PWM_ConfigChannel(&htim9, &sConfigOC, TIM_CHANNEL_2) != HAL_OK)
  {
    Error_Handler();
  }
  HAL_TIM_MspPostInit(&htim9);

}

static void MX_UART4_Init(void)
{

  huart4.Instance = UART4;
  huart4.Init.BaudRate = 9600;
  huart4.Init.WordLength = UART_WORDLENGTH_8B;
  huart4.Init.StopBits = UART_STOPBITS_1;
  huart4.Init.Parity = UART_PARITY_NONE;
  huart4.Init.Mode = UART_MODE_TX_RX;
  huart4.Init.HwFlowCtl = UART_HWCONTROL_NONE;
  huart4.Init.OverSampling = UART_OVERSAMPLING_16;
  huart4.Init.OneBitSampling = UART_ONE_BIT_SAMPLE_DISABLE;
  huart4.AdvancedInit.AdvFeatureInit = UART_ADVFEATURE_NO_INIT;
  if (HAL_UART_Init(&huart4) != HAL_OK)
  {
    Error_Handler();
  }

}

static void MX_UART5_Init(void)
{

  huart5.Instance = UART5;
  huart5.Init.BaudRate = 115200;
  huart5.Init.WordLength = UART_WORDLENGTH_8B;
  huart5.Init.StopBits = UART_STOPBITS_1;
  huart5.Init.Parity = UART_PARITY_NONE;
  huart5.Init.Mode = UART_MODE_TX_RX;
  huart5.Init.HwFlowCtl = UART_HWCONTROL_NONE;
  huart5.Init.OverSampling = UART_OVERSAMPLING_16;
  huart5.Init.OneBitSampling = UART_ONE_BIT_SAMPLE_DISABLE;
  huart5.AdvancedInit.AdvFeatureInit = UART_ADVFEATURE_NO_INIT;
  if (HAL_UART_Init(&huart5) != HAL_OK)
  {
    Error_Handler();
  }

}

static void MX_USART1_UART_Init(void)
{

  huart1.Instance = USART1;
  huart1.Init.BaudRate = 115200;
  huart1.Init.WordLength = UART_WORDLENGTH_8B;
  huart1.Init.StopBits = UART_STOPBITS_1;
  huart1.Init.Parity = UART_PARITY_NONE;
  huart1.Init.Mode = UART_MODE_TX_RX;
  huart1.Init.HwFlowCtl = UART_HWCONTROL_NONE;
  huart1.Init.OverSampling = UART_OVERSAMPLING_16;
  huart1.Init.OneBitSampling = UART_ONE_BIT_SAMPLE_DISABLE;
  huart1.AdvancedInit.AdvFeatureInit = UART_ADVFEATURE_NO_INIT;
  if (HAL_UART_Init(&huart1) != HAL_OK)
  {
    Error_Handler();
  }

}

static void MX_USART2_UART_Init(void)
{

  huart2.Instance = USART2;
  huart2.Init.BaudRate = 1000000;
  huart2.Init.WordLength = UART_WORDLENGTH_8B;
  huart2.Init.StopBits = UART_STOPBITS_1;
  huart2.Init.Parity = UART_PARITY_NONE;
  huart2.Init.Mode = UART_MODE_TX_RX;
  huart2.Init.HwFlowCtl = UART_HWCONTROL_NONE;
  huart2.Init.OverSampling = UART_OVERSAMPLING_16;
  huart2.Init.OneBitSampling = UART_ONE_BIT_SAMPLE_DISABLE;
  huart2.AdvancedInit.AdvFeatureInit = UART_ADVFEATURE_NO_INIT;
  if (HAL_UART_Init(&huart2) != HAL_OK)
  {
    Error_Handler();
  }

}

static void MX_USART3_UART_Init(void)
{

  huart3.Instance = USART3;
  huart3.Init.BaudRate = 115200;
  huart3.Init.WordLength = UART_WORDLENGTH_8B;
  huart3.Init.StopBits = UART_STOPBITS_1;
  huart3.Init.Parity = UART_PARITY_NONE;
  huart3.Init.Mode = UART_MODE_TX_RX;
  huart3.Init.HwFlowCtl = UART_HWCONTROL_NONE;
  huart3.Init.OverSampling = UART_OVERSAMPLING_16;
  huart3.Init.OneBitSampling = UART_ONE_BIT_SAMPLE_DISABLE;
  huart3.AdvancedInit.AdvFeatureInit = UART_ADVFEATURE_NO_INIT;
  if (HAL_UART_Init(&huart3) != HAL_OK)
  {
    Error_Handler();
  }

}

static void MX_GPIO_Init(void)
{
  GPIO_InitTypeDef GPIO_InitStruct = {0};

  /* GPIO Ports Clock Enable */
  __HAL_RCC_GPIOE_CLK_ENABLE();
  __HAL_RCC_GPIOC_CLK_ENABLE();
  __HAL_RCC_GPIOF_CLK_ENABLE();
  __HAL_RCC_GPIOH_CLK_ENABLE();
  __HAL_RCC_GPIOA_CLK_ENABLE();
  __HAL_RCC_GPIOB_CLK_ENABLE();
  __HAL_RCC_GPIOD_CLK_ENABLE();
  __HAL_RCC_GPIOG_CLK_ENABLE();

  /*Configure GPIO pin Output Level */
  HAL_GPIO_WritePin(GPIOE, GPIO_OUT_SPI_CS_SDCARD_Pin|GPIO_OUT_SPI_CS_LCD_Pin, GPIO_PIN_RESET);

  /*Configure GPIO pin Output Level */
  HAL_GPIO_WritePin(GPIOB, LD1_Pin|LD3_Pin|LD2_Pin, GPIO_PIN_RESET);

  /*Configure GPIO pin Output Level */
  HAL_GPIO_WritePin(GPIOG, GPIO_PIN_6, GPIO_PIN_RESET);

  /*Configure GPIO pins : GPIO_OUT_SPI_CS_SDCARD_Pin GPIO_OUT_SPI_CS_LCD_Pin */
  GPIO_InitStruct.Pin = GPIO_OUT_SPI_CS_SDCARD_Pin|GPIO_OUT_SPI_CS_LCD_Pin;
  GPIO_InitStruct.Mode = GPIO_MODE_OUTPUT_PP;
  GPIO_InitStruct.Pull = GPIO_NOPULL;
  GPIO_InitStruct.Speed = GPIO_SPEED_FREQ_LOW;
  HAL_GPIO_Init(GPIOE, &GPIO_InitStruct);

  /*Configure GPIO pins : GPIO_EXTI2_PROXY_TOF_SENS_IRQ_Pin GPIO_EXTI3_IMU_IRQ_Pin GPIO_EXTI4_KPAD_IRQ_Pin GPIO_EXTI8_USER_BUT1_IRQ_Pin
                           GPIO_EXTI9_USER_BUT2_IRQ_Pin GPIO_EXTI10_BUMP1_IRQ_Pin GPIO_EXTI11_BUMP2_IRQ_Pin GPIO_EXTI12_BUMP3_IRQ_Pin
                           GPIO_EXTI13_BUMP4_IRQ_Pin */
  GPIO_InitStruct.Pin = GPIO_EXTI2_PROXY_TOF_SENS_IRQ_Pin|GPIO_EXTI3_IMU_IRQ_Pin|GPIO_EXTI4_KPAD_IRQ_Pin|GPIO_EXTI8_USER_BUT1_IRQ_Pin
                          |GPIO_EXTI9_USER_BUT2_IRQ_Pin|GPIO_EXTI10_BUMP1_IRQ_Pin|GPIO_EXTI11_BUMP2_IRQ_Pin|GPIO_EXTI12_BUMP3_IRQ_Pin
                          |GPIO_EXTI13_BUMP4_IRQ_Pin;
  GPIO_InitStruct.Mode = GPIO_MODE_IT_RISING;
  GPIO_InitStruct.Pull = GPIO_NOPULL;
  HAL_GPIO_Init(GPIOF, &GPIO_InitStruct);

  /*Configure GPIO pins : RMII_MDC_Pin RMII_RXD0_Pin RMII_RXD1_Pin */
  GPIO_InitStruct.Pin = RMII_MDC_Pin|RMII_RXD0_Pin|RMII_RXD1_Pin;
  GPIO_InitStruct.Mode = GPIO_MODE_AF_PP;
  GPIO_InitStruct.Pull = GPIO_NOPULL;
  GPIO_InitStruct.Speed = GPIO_SPEED_FREQ_VERY_HIGH;
  GPIO_InitStruct.Alternate = GPIO_AF11_ETH;
  HAL_GPIO_Init(GPIOC, &GPIO_InitStruct);

  /*Configure GPIO pins : RMII_REF_CLK_Pin RMII_MDIO_Pin RMII_CRS_DV_Pin */
  GPIO_InitStruct.Pin = RMII_REF_CLK_Pin|RMII_MDIO_Pin|RMII_CRS_DV_Pin;
  GPIO_InitStruct.Mode = GPIO_MODE_AF_PP;
  GPIO_InitStruct.Pull = GPIO_NOPULL;
  GPIO_InitStruct.Speed = GPIO_SPEED_FREQ_VERY_HIGH;
  GPIO_InitStruct.Alternate = GPIO_AF11_ETH;
  HAL_GPIO_Init(GPIOA, &GPIO_InitStruct);

  /*Configure GPIO pins : LD1_Pin LD3_Pin LD2_Pin */
  GPIO_InitStruct.Pin = LD1_Pin|LD3_Pin|LD2_Pin;
  GPIO_InitStruct.Mode = GPIO_MODE_OUTPUT_PP;
  GPIO_InitStruct.Pull = GPIO_NOPULL;
  GPIO_InitStruct.Speed = GPIO_SPEED_FREQ_LOW;
  HAL_GPIO_Init(GPIOB, &GPIO_InitStruct);

  /*Configure GPIO pin : RMII_TXD1_Pin */
  GPIO_InitStruct.Pin = RMII_TXD1_Pin;
  GPIO_InitStruct.Mode = GPIO_MODE_AF_PP;
  GPIO_InitStruct.Pull = GPIO_NOPULL;
  GPIO_InitStruct.Speed = GPIO_SPEED_FREQ_VERY_HIGH;
  GPIO_InitStruct.Alternate = GPIO_AF11_ETH;
  HAL_GPIO_Init(RMII_TXD1_GPIO_Port, &GPIO_InitStruct);

  /*Configure GPIO pin : PG6 */
  GPIO_InitStruct.Pin = GPIO_PIN_6;
  GPIO_InitStruct.Mode = GPIO_MODE_OUTPUT_PP;
  GPIO_InitStruct.Pull = GPIO_NOPULL;
  GPIO_InitStruct.Speed = GPIO_SPEED_FREQ_LOW;
  HAL_GPIO_Init(GPIOG, &GPIO_InitStruct);

  /*Configure GPIO pin : USB_OverCurrent_Pin */
  GPIO_InitStruct.Pin = USB_OverCurrent_Pin;
  GPIO_InitStruct.Mode = GPIO_MODE_INPUT;
  GPIO_InitStruct.Pull = GPIO_NOPULL;
  HAL_GPIO_Init(USB_OverCurrent_GPIO_Port, &GPIO_InitStruct);

  /*Configure GPIO pins : USB_SOF_Pin USB_ID_Pin USB_DM_Pin USB_DP_Pin */
  GPIO_InitStruct.Pin = USB_SOF_Pin|USB_ID_Pin|USB_DM_Pin|USB_DP_Pin;
  GPIO_InitStruct.Mode = GPIO_MODE_AF_PP;
  GPIO_InitStruct.Pull = GPIO_NOPULL;
  GPIO_InitStruct.Speed = GPIO_SPEED_FREQ_VERY_HIGH;
  GPIO_InitStruct.Alternate = GPIO_AF10_OTG_FS;
  HAL_GPIO_Init(GPIOA, &GPIO_InitStruct);

  /*Configure GPIO pin : USB_VBUS_Pin */
  GPIO_InitStruct.Pin = USB_VBUS_Pin;
  GPIO_InitStruct.Mode = GPIO_MODE_INPUT;
  GPIO_InitStruct.Pull = GPIO_NOPULL;
  HAL_GPIO_Init(USB_VBUS_GPIO_Port, &GPIO_InitStruct);

  /*Configure GPIO pins : RMII_TX_EN_Pin RMII_TXD0_Pin */
  GPIO_InitStruct.Pin = RMII_TX_EN_Pin|RMII_TXD0_Pin;
  GPIO_InitStruct.Mode = GPIO_MODE_AF_PP;
  GPIO_InitStruct.Pull = GPIO_NOPULL;
  GPIO_InitStruct.Speed = GPIO_SPEED_FREQ_VERY_HIGH;
  GPIO_InitStruct.Alternate = GPIO_AF11_ETH;
  HAL_GPIO_Init(GPIOG, &GPIO_InitStruct);

}

void Error_Handler(void)
{
  __disable_irq();
  while (1)
  {
  }
}
